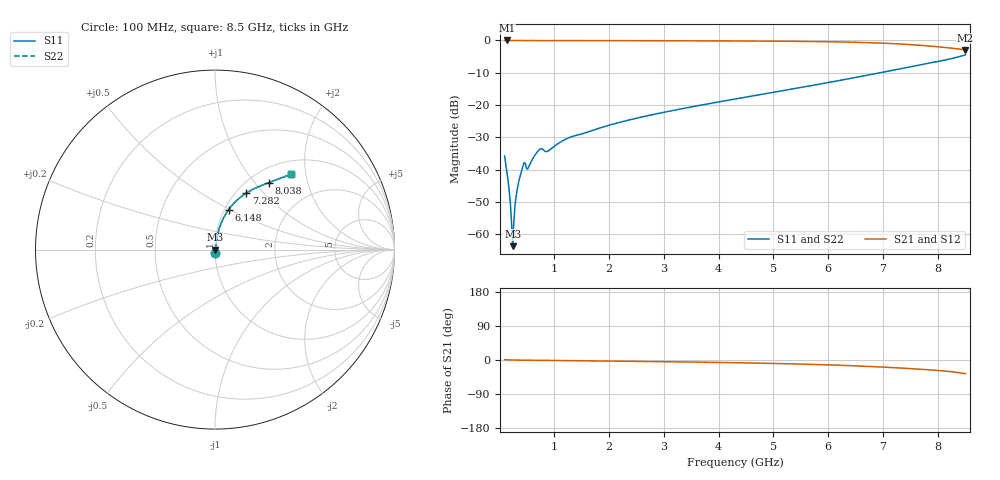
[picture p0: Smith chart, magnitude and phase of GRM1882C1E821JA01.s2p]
!Murata Part Number: GRM1882C1E821JA01
!These Parameters are Measured in Series Mode Connection
!Data Generated on Mar 30, 2021
!  o--ll--o
!Port1  Port2
!  o------o
!Operation Temp=25[degC], DC Bias Voltage=0[V]
!Freq. Start=100[MHz] Stop=9[GHz] 401[Steps]
# Hz S RI R 50
!Freq.(Hz) S11(Real) S11(Imag) S21(Real) S21(Imag) S12(Real) S12(Imag) S22(Real) S22(Imag)
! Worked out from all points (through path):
!   401 points, 100 MHz to 8.5 GHz, reference 50 ohm
!   highest |S21| = 0.00 dB at 142 MHz (marker M1); lowest = -2.9 dB at 8.5 GHz (marker M2)
!   group delay of S21, straight-line fit = 9.45 ps
!   lowest |S11| = -63.6 dB at 247 MHz (marker M3), VSWR 1.00, Z = 50.1 + j0.00327 ohm
!   |S11| at or under -10 dB: start of sweep to 6.943 GHz
!   |S22| runs from -63.6 to -4.5 dB; largest |S21 - S12| = 0
!   S11 on the Smith chart (normalised r, x): 100 MHz: 1.00, -0.03; 6.148 GHz: 1.05, +0.49; 7.282 GHz: 1.11, +0.81; 8.038 GHz: 1.23, +1.19; 8.5 GHz: 1.27, +1.65
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1e8  0.000661 -0.0162  0.9993 0.0162  0.9993 0.0162  0.000661 -0.0162
1.42e8  0.000531 -0.00918  0.9995 0.00918  0.9995 0.00918  0.000531 -0.00918
1.84e8  0.000536 -0.00471  0.9995 0.00471  0.9995 0.00471  0.000536 -0.00471
2.05e8  0.000564 -0.00296  0.9994 0.00296  0.9994 0.00296  0.000564 -0.00296
2.47e8  0.000656 3.27e-05  0.9993 -3.27e-05  0.9993 -3.27e-05  0.000656 3.27e-05
2.89e8  0.000794 0.0026  0.9992 -0.0026  0.9992 -0.0026  0.000794 0.0026
3.1e8  0.000885 0.00379  0.9991 -0.00379  0.9991 -0.00379  0.000885 0.00379
3.52e8  0.00113 0.0061  0.9989 -0.0061  0.9989 -0.0061  0.00113 0.0061
4.36e8  0.00292 0.0111  0.9971 -0.0111  0.9971 -0.0111  0.00292 0.0111
5.41e8  0.00303 0.0108  0.997 -0.0108  0.997 -0.0108  0.00303 0.0108
7.3e8  0.00596 0.0195  0.994 -0.0195  0.994 -0.0195  0.00596 0.0195
8.98e8  0.00585 0.0187  0.9942 -0.0187  0.9942 -0.0187  0.00585 0.0187
1.213e9  0.00589 0.0291  0.9941 -0.0291  0.9941 -0.0291  0.00589 0.0291
1.507e9  0.00748 0.035  0.9925 -0.035  0.9925 -0.035  0.00748 0.035
2.914e9  0.0126 0.0736  0.9874 -0.0736  0.9874 -0.0736  0.0126 0.0736
4.3e9  0.0251 0.1216  0.9749 -0.1216  0.9749 -0.1216  0.0251 0.1216
5.707e9  0.0568 0.193  0.9432 -0.193  0.9432 -0.193  0.0568 0.193
6.148e9  0.076 0.2227  0.924 -0.2227  0.924 -0.2227  0.076 0.2227
7.114e9  0.1532 0.3007  0.8468 -0.3007  0.8468 -0.3007  0.1532 0.3007
7.282e9  0.174 0.3149  0.826 -0.3149  0.826 -0.3149  0.174 0.3149
8.038e9  0.3009 0.3733  0.6991 -0.3733  0.6991 -0.3733  0.3009 0.3733
8.5e9  0.4244 0.4197  0.5756 -0.4197  0.5756 -0.4197  0.4244 0.4197
